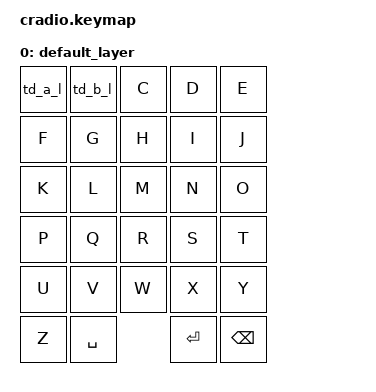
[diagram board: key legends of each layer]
// SPDX-License-Identifier: MIT

/ {
    behaviors {
        td_a_l: tap_dance {
            compatible = "zmk,behavior-tap-dance";
            #binding-cells = <0>;
            bindings = <&kp A &kp LS(A)>;
        };

        td_b_l: tap_dance {
            compatible = "zmk,behavior-tap-dance";
            #binding-cells = <0>;
            bindings = <&kp B &kp LS(B)>;
        };
    };

    keymap {
        compatible = "zmk,keymap";

        default_layer {
            bindings = <
                &td_a_l &td_b_l &kp C &kp D &kp E
                &kp F   &kp G   &kp H &kp I &kp J
                &kp K   &kp L   &kp M &kp N &kp O
                &kp P   &kp Q   &kp R &kp S &kp T
                &kp U   &kp V   &kp W &kp X &kp Y
                &kp Z   &kp SPACE &kp ENTER &kp BSPC
            >;
        };
    };
};
